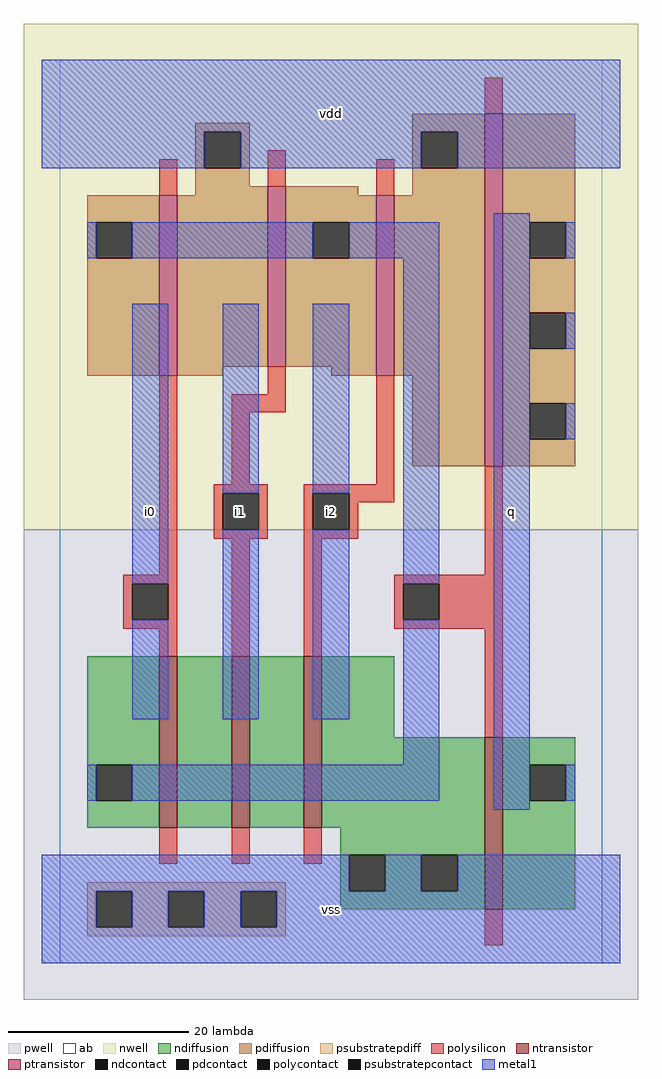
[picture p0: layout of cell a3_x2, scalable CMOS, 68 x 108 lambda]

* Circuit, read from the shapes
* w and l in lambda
.subckt a3_x2 i0 i1 i2 q vdd vss
M1 n1 i0 n2 vss nfet w=19 l=2
M2 n3 i1 n1 vss nfet w=19 l=2
M3 vss i2 n3 vss nfet w=19 l=2
M4 q n2 vss vss nfet w=19 l=2
M5 vdd i0 n2 n4 pfet w=20 l=2
M6 n2 i1 vdd n4 pfet w=20 l=2
M7 vdd i2 n2 n4 pfet w=20 l=2
M8 q n2 vdd n4 pfet w=39 l=2
.ends

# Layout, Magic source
magic
tech scmos
<< ab >>
rect 0 0 60 100
<< pwell >>
rect -4 -4 64 48
<< nwell >>
rect -4 48 64 104
<< polysilicon >>
rect 47 94 49 98
rect 11 85 13 89
rect 23 86 25 90
rect 35 85 37 89
rect 11 43 13 65
rect 23 63 25 66
rect 19 61 25 63
rect 19 53 21 61
rect 35 53 37 65
rect 17 52 23 53
rect 17 48 18 52
rect 22 48 23 52
rect 17 47 23 48
rect 27 52 37 53
rect 27 48 28 52
rect 32 51 37 52
rect 32 48 33 51
rect 27 47 33 48
rect 7 42 13 43
rect 7 38 8 42
rect 12 38 13 42
rect 7 37 13 38
rect 11 34 13 37
rect 19 34 21 47
rect 27 34 29 47
rect 47 43 49 55
rect 37 42 49 43
rect 37 38 38 42
rect 42 38 49 42
rect 37 37 49 38
rect 47 25 49 37
rect 11 11 13 15
rect 19 11 21 15
rect 27 11 29 15
rect 47 2 49 6
<< ndiffusion >>
rect 3 22 11 34
rect 3 18 4 22
rect 8 18 11 22
rect 3 15 11 18
rect 13 15 19 34
rect 21 15 27 34
rect 29 25 37 34
rect 29 15 47 25
rect 31 12 47 15
rect 31 8 32 12
rect 36 8 40 12
rect 44 8 47 12
rect 31 6 47 8
rect 49 22 57 25
rect 49 18 52 22
rect 56 18 57 22
rect 49 6 57 18
<< pdiffusion >>
rect 15 92 21 93
rect 15 88 16 92
rect 20 88 21 92
rect 39 92 47 94
rect 15 86 21 88
rect 15 85 23 86
rect 3 82 11 85
rect 3 78 4 82
rect 8 78 11 82
rect 3 65 11 78
rect 13 66 23 85
rect 25 85 33 86
rect 39 88 40 92
rect 44 88 47 92
rect 39 85 47 88
rect 25 82 35 85
rect 25 78 28 82
rect 32 78 35 82
rect 25 66 35 78
rect 13 65 18 66
rect 30 65 35 66
rect 37 65 47 85
rect 39 55 47 65
rect 49 82 57 94
rect 49 78 52 82
rect 56 78 57 82
rect 49 72 57 78
rect 49 68 52 72
rect 56 68 57 72
rect 49 62 57 68
rect 49 58 52 62
rect 56 58 57 62
rect 49 55 57 58
<< metal1 >>
rect -2 92 62 100
rect -2 88 16 92
rect 20 88 40 92
rect 44 88 62 92
rect 3 78 4 82
rect 8 78 28 82
rect 32 78 42 82
rect 8 42 12 73
rect 8 27 12 38
rect 18 52 22 73
rect 18 27 22 48
rect 28 52 32 73
rect 28 27 32 48
rect 38 42 42 78
rect 38 22 42 38
rect 3 18 4 22
rect 8 18 42 22
rect 48 17 52 83
rect 56 78 57 82
rect 56 68 57 72
rect 56 58 57 62
rect 56 18 57 22
rect -2 8 32 12
rect 36 8 40 12
rect 44 8 62 12
rect -2 4 4 8
rect 8 4 12 8
rect 16 4 20 8
rect 24 4 62 8
rect -2 0 62 4
<< ntransistor >>
rect 11 15 13 34
rect 19 15 21 34
rect 27 15 29 34
rect 47 6 49 25
<< ptransistor >>
rect 11 65 13 85
rect 23 66 25 86
rect 35 65 37 85
rect 47 55 49 94
<< polycontact >>
rect 18 48 22 52
rect 28 48 32 52
rect 8 38 12 42
rect 38 38 42 42
<< ndcontact >>
rect 4 18 8 22
rect 32 8 36 12
rect 40 8 44 12
rect 52 18 56 22
<< pdcontact >>
rect 16 88 20 92
rect 4 78 8 82
rect 40 88 44 92
rect 28 78 32 82
rect 52 78 56 82
rect 52 68 56 72
rect 52 58 56 62
<< psubstratepcontact >>
rect 4 4 8 8
rect 12 4 16 8
rect 20 4 24 8
<< psubstratepdiff >>
rect 3 8 25 9
rect 3 4 4 8
rect 8 4 12 8
rect 16 4 20 8
rect 24 4 25 8
rect 3 3 25 4
<< labels >>
rlabel metal1 10 50 10 50 6 i0
rlabel polycontact 20 50 20 50 6 i1
rlabel metal1 30 6 30 6 6 vss
rlabel polycontact 30 50 30 50 6 i2
rlabel metal1 30 94 30 94 6 vdd
rlabel metal1 50 50 50 50 6 q
<< end >>
